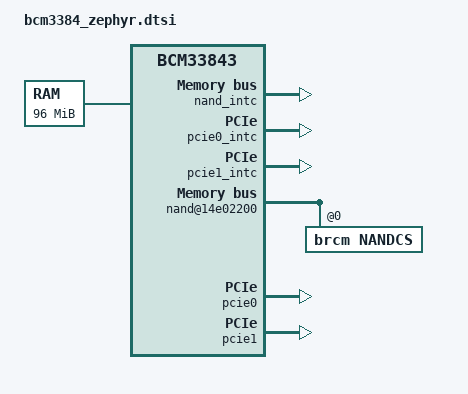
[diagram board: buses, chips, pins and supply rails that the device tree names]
/include/ "bcm3384_common.dtsi"

/ {
	#address-cells = <1>;
	#size-cells = <1>;
	compatible = "brcm,bcm3384", "brcm,bcm33843";

	memory@0 {
		device_type = "memory";

		/* Typical range.  The bootloader should fill this in. */
		reg = <0x0 0x06000000>;

		/* Inverted mapping in low 256MB; 1:1 mapping above that. */
		dma-xor-mask = <0x00000000>;
		dma-xor-limit = <0x00000000>;
	};

	cpus {
		#address-cells = <1>;
		#size-cells = <0>;

		/* On BMIPS5000 this is 1/8th of the CPU core clock */
		mips-hpt-frequency = <100000000>;

		cpu@0 {
			compatible = "brcm,bmips5000";
			device_type = "cpu";
			reg = <0>;
		};

		cpu@1 {
			compatible = "brcm,bmips5000";
			device_type = "cpu";
			reg = <1>;
		};
	};

	cpu_intc: cpu_intc@0 {
		#address-cells = <0>;
		compatible = "mti,cpu-interrupt-controller";

		interrupt-controller;
		#interrupt-cells = <1>;
	};

	periph_intc: periph_intc@14e00038 {
		compatible = "brcm,bcm7120-l2-intc";
		reg = <0x14e00038 0x8 0x14e00340 0x8>;

		interrupt-controller;
		#interrupt-cells = <1>;

		interrupt-parent = <&cpu_intc>;
		interrupts = <4>;
		brcm,int-map-mask = <0xffffffff 0xffffffff>;
	};

	zmips_intc: zmips_intc@104b0060 {
		compatible = "brcm,bcm7120-l2-intc";
		reg = <0x104b0060 0x8>;

		interrupt-controller;
		#interrupt-cells = <1>;

		interrupt-parent = <&periph_intc>;
		interrupts = <29>;
		brcm,int-map-mask = <0xffffffff>;
	};

	iop_intc: iop_intc@14e00058 {
		compatible = "brcm,bcm7120-l2-intc";
		reg = <0x14e00058 0x8>;

		interrupt-controller;
		#interrupt-cells = <1>;

		interrupt-parent = <&cpu_intc>;
		interrupts = <6>;
		brcm,int-map-mask = <0xffffffff>;
	};

	nand_intc: nand_intc@14e000f0 {
		compatible = "brcm,bcm3384-nand-intc";
		reg = <0x14e000f0 0x4>;

		interrupt-controller;
		#interrupt-cells = <1>;

		interrupt-parent = <&periph_intc>;
		interrupts = <3>;

		enable-shift = <16>;
		status-shift = <0>;
		#interrupts = <8>;
	};

	pcie0_intc: pcie0_intc@12808300 {
		compatible = "brcm,bcm3384-pci-intc";
		reg = <0x12808300 0x20>;

		interrupt-controller;
		#interrupt-cells = <1>;

		interrupt-parent = <&periph_intc>;
		interrupts = <44>;

		#interrupts = <32>;
	};

	pcie1_intc: pcie1_intc@12a08300 {
		compatible = "brcm,bcm3384-pci-intc";
		reg = <0x12a08300 0x20>;

		interrupt-controller;
		#interrupt-cells = <1>;

		interrupt-parent = <&periph_intc>;
		interrupts = <45>;

		#interrupts = <32>;
	};

	nand@14e02200 {
		compatible = "brcm,brcmnand-v5.0", "brcm,brcmnand";
		#size-cells = <0x0>;
		#address-cells = <0x1>;
		reg-names = "nand";
		reg = <0x14e02200 0x600>;
		interrupt-parent = <&nand_intc>;
		interrupts = <0x4>;

		semaphore-magic = <0x5a>;

		nandcs@0 {
			#size-cells = <0x2>;
			#address-cells = <0x2>;
			compatible = "brcm,nandcs";
			reg = <0x0>;
			nand-on-flash-bbt;

			/*
			 * These nodes are commented out because aeolus
			 * will fill in the correct nodes it gets from CM
			 *
			linuxapps@20000 {
				reg = <0x0 0x00020000 0x0 0x0bc60000>;
			};
			image1@bc80000 {
				reg = <0x0 0x0bc80000 0x0 0x00d80000>;
			};
			image2@ca00000 {
				reg = <0x0 0x0ca00000 0x0 0x00d80000>;
			};
			linux@d780000 {
				reg = <0x0 0x0d780000 0x0 0x00480000>;
			};
			linuxkfs@dc00000 {
				reg = <0x0 0x0dc00000 0x0 0x011e0000>;
			};
			dhtml@ee00000 {
				reg = <0x0 0x0ee00000 0x0 0x01200000>;
			};
			*
			*
			*/
		};
	};

	pci_perst: pci_perst@14e0008c {
		reg = <0x14e0008c 4>;
		compatible = "brcm,brcm3384-pci-perst";
	};

	pcie0: pcie@12800000 {
		reg = <0x12800000 0x8130>, <0x12808400 0xc>;
		interrupt-parent = <&pcie0_intc>;
		compatible = "brcm,bcm3384-pci-plat-dev";
		#interrupt-cells = <1>;
		#address-cells = <3>;
		#size-cells = <2>;
		device_type = "pci";
		linux,pci-domain = <0>;
		brcm,pci-perst = <&pci_perst>;
		bus-range = <0x00 0xff>;
		ranges = <0x02000000 0x0 0xd0000000 0xd0000000 0x0 0x08000000
                          0x02000000 0x0 0xd8000000 0xd8000000 0x0 0x08000000>;
		interrupt-map-mask = <0 0 0 7>;
		interrupt-map = <
			0 0 0 1 &pcie0_intc 1
			0 0 0 2 &pcie0_intc 2
			0 0 0 3 &pcie0_intc 3
			0 0 0 4 &pcie0_intc 4>;
	};

	pcie1: pcie@12a00000 {
		reg = <0x12a00000 0x8130>, <0x12a08400 0xc>;
		interrupt-parent = <&pcie1_intc>;
		compatible = "brcm,bcm3384-pci-plat-dev";
		#interrupt-cells = <1>;
		#address-cells = <3>;
		#size-cells = <2>;
		device_type = "pci";
		linux,pci-domain = <1>;
		brcm,pci-perst = <&pci_perst>;
		bus-range = <0x00 0xff>;
		ranges = <0x02000000 0x0 0xe0000000 0xe0000000 0x0 0x08000000
                          0x02000000 0x0 0xe8000000 0xe8000000 0x0 0x08000000>;
		interrupt-map-mask = <0 0 0 7>;
		interrupt-map = <
			0 0 0 1 &pcie1_intc 1
			0 0 0 2 &pcie1_intc 2
			0 0 0 3 &pcie1_intc 3
			0 0 0 4 &pcie1_intc 4>;
	};
	watchdog@104b01cc {
		compatible = "brcm,bcm7038-wdt";
		clock-frequency = <0x337f980>;
		reg = <0x104b01cc 0xc>;
	};
};
